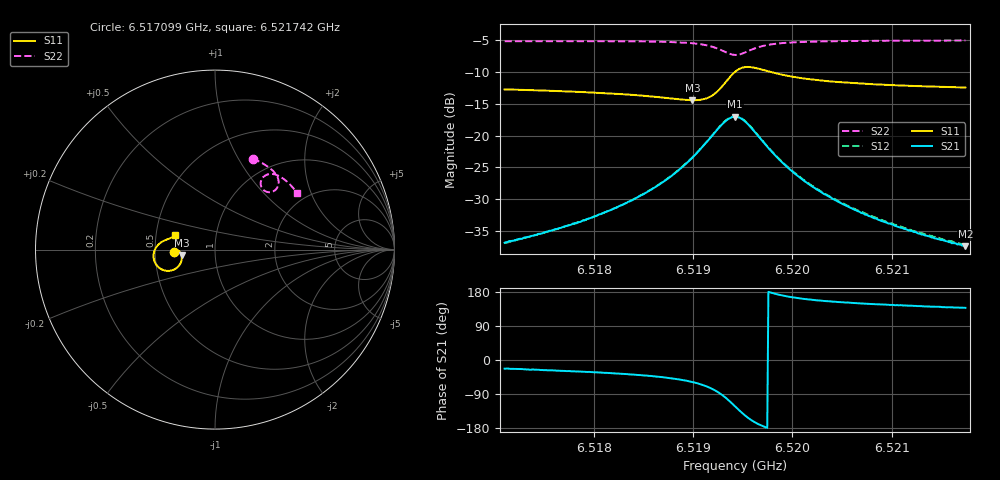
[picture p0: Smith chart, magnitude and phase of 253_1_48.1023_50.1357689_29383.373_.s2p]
#  HZ  S  RI  R  50.00
! Rohde & Schwarz Vector Network Analyzer
! Rohde-Schwarz,ZNB20-2Port,1311601062101988,3.16
! Created: UTC 12/23/2023, 3:59:59 AM
! freq[Hz]  re:S11  im:S11  re:S21  im:S21  re:S12  im:S12  re:S22  im:S22
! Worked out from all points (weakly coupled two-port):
!   401 points, 6.517099 GHz to 6.521742 GHz, reference 50 ohm
!   highest |S21| = -17.04 dB at 6.519421 GHz (marker M1); lowest = -37.3 dB at 6.521742 GHz (marker M2)
!   lowest |S11| = -14.5 dB at 6.518991 GHz (marker M3), VSWR 1.47, Z = 34.2 - j2.32 ohm
!   |S11| at or under -10 dB: start of sweep to 6.519422 GHz; 6.519772 GHz to end of sweep
!   |S22| runs from -7.4 to -5.1 dB; largest |S21 - S12| = 0.0043
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6.517099e9  -0.2295 -0.015  0.0133 -0.00563  0.0135 -0.00513  0.2101 0.5066
6.5175633e9  -0.224 -0.00853  0.016 -0.00817  0.0163 -0.00765  0.2444 0.4914
6.5178767e9  -0.2194 -0.00505  0.0184 -0.0109  0.0187 -0.0104  0.2675 0.4791
6.5183642e9  -0.209 -0.0038  0.0241 -0.019  0.0248 -0.0181  0.3043 0.455
6.5186544e9  -0.1997 -0.00862  0.0295 -0.0288  0.0305 -0.0281  0.3267 0.4347
6.518817e9  -0.1933 -0.0161  0.0329 -0.0387  0.0343 -0.0379  0.3394 0.4193
6.5189911e9  -0.1863 -0.0327  0.0355 -0.0569  0.0374 -0.0562  0.3513 0.3958
6.5191072e9  -0.1853 -0.0533  0.0328 -0.0772  0.0354 -0.0766  0.3547 0.373
6.5191884e9  -0.1912 -0.0745  0.0241 -0.0964  0.0273 -0.0963  0.3506 0.353
6.5192581e9  -0.2064 -0.0962  0.0074 -0.1147  0.0108 -0.1155  0.3386 0.3343
6.5193277e9  -0.2365 -0.1146  -0.0222 -0.1285  -0.0188 -0.1302  0.3152 0.3211
6.5194206e9  -0.2954 -0.1109  -0.0747 -0.1192  -0.0719 -0.1222  0.2744 0.3288
6.519467e9  -0.3209 -0.092  -0.0955 -0.0997  -0.0934 -0.1033  0.2601 0.3455
6.5195251e9  -0.3389 -0.06  -0.1078 -0.0698  -0.1066 -0.0734  0.2543 0.3701
6.5196179e9  -0.3394 -0.0133  -0.1032 -0.0298  -0.1032 -0.0329  0.2663 0.4012
6.5197224e9  -0.3234 0.0189  -0.0857 -0.00473  -0.0864 -0.00741  0.2895 0.4175
6.5199546e9  -0.2897 0.0463  -0.0545 0.0121  -0.0555 0.0108  0.3313 0.4193
6.5201983e9  -0.2691 0.0558  -0.0372 0.0144  -0.038 0.0135  0.3601 0.4082
6.5205582e9  -0.2516 0.0627  -0.0245 0.0132  -0.0251 0.0129  0.3903 0.3876
6.5209761e9  -0.2393 0.0687  -0.0168 0.0117  -0.0175 0.0113  0.4175 0.3627
6.5212779e9  -0.2327 0.0727  -0.0135 0.0104  -0.014 0.0103  0.4344 0.3445
6.5217422e9  -0.2245 0.0791  -0.0101 0.00915  -0.0105 0.00903  0.4579 0.3157
